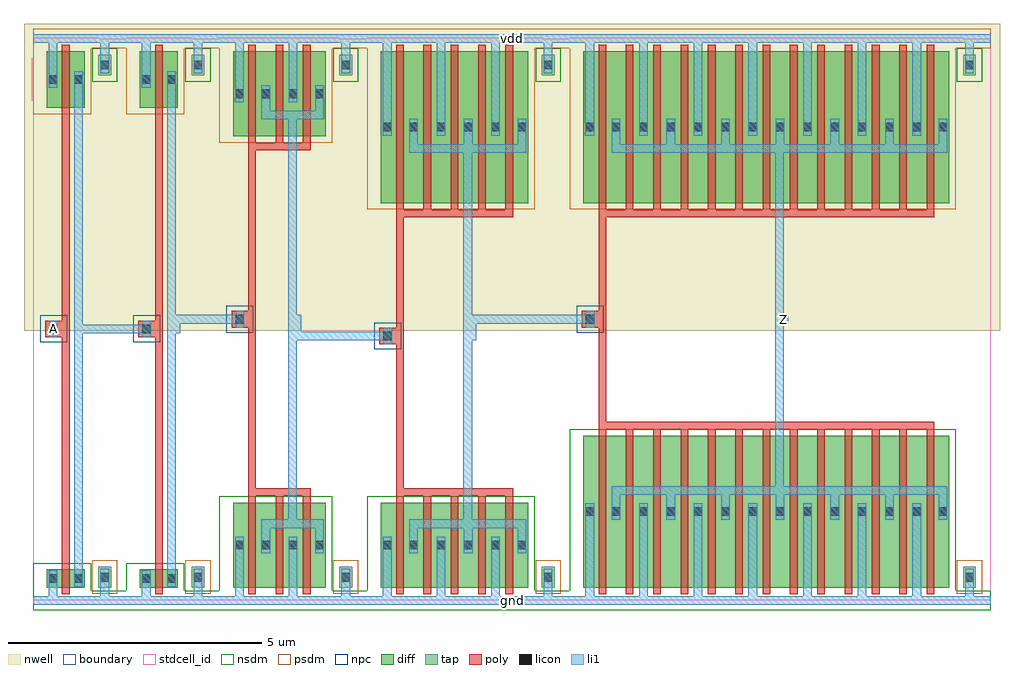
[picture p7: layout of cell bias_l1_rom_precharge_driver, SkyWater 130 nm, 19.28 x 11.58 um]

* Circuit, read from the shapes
.subckt bias_l1_rom_precharge_driver A Z gnd vdd
XM1 bias_l1_pinv_1/A A gnd gnd sky130_fd_pr__nfet_01v8 w=0.36 l=0.15
XM2 bias_l1_pinv_2_2/A bias_l1_pinv_1/A gnd gnd sky130_fd_pr__nfet_01v8 w=0.36 l=0.15
XM3 bias_l1_pinv_3_3/A bias_l1_pinv_2_2/A gnd gnd sky130_fd_pr__nfet_01v8 w=1.68 l=0.15 m=3
XM4 bias_l1_pinv_4_4/A bias_l1_pinv_3_3/A gnd gnd sky130_fd_pr__nfet_01v8 w=1.68 l=0.15 m=5
XM5 Z bias_l1_pinv_4_4/A gnd gnd sky130_fd_pr__nfet_01v8 w=3 l=0.15 m=13
XM6 bias_l1_pinv_1/A A vdd vdd sky130_fd_pr__pfet_01v8 w=1.12 l=0.15
XM7 bias_l1_pinv_2_2/A bias_l1_pinv_1/A vdd vdd sky130_fd_pr__pfet_01v8 w=1.12 l=0.15
XM8 bias_l1_pinv_3_3/A bias_l1_pinv_2_2/A vdd vdd sky130_fd_pr__pfet_01v8 w=1.68 l=0.15 m=3
XM9 bias_l1_pinv_4_4/A bias_l1_pinv_3_3/A vdd vdd sky130_fd_pr__pfet_01v8 w=3 l=0.15 m=5
XM10 Z bias_l1_pinv_4_4/A vdd vdd sky130_fd_pr__pfet_01v8 w=3 l=0.15 m=13
.ends

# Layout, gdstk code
import gdstk
lib = gdstk.Library(unit=1e-6, precision=1e-09)
def R(c, l, rs):  # rectangles x0, y0, x1, y1
    for r in rs: c.add(gdstk.rectangle(r[:2], r[2:], *l))
def A(c, l, x, y, w, h, nx, ny, dx, dy):  # array of equal rectangles
    R(c, l, [(x+i*dx, y+j*dy, x+i*dx+w, y+j*dy+h) for i in range(nx) for j in range(ny)])
nwell = (64, 20)
diff = (65, 20)
tap = (65, 44)
poly = (66, 20)
licon = (66, 44)
li1 = (67, 20)
stdcell_id = (81, 4)
nsdm = (93, 44)
psdm = (94, 20)
npc = (95, 20)
boundary = (235, 4)

bias_l1_contact_10 = lib.new_cell('bias_l1_contact_10')
R(bias_l1_contact_10, nwell, [(-0.295,-0.255,0.545,0.585)])
R(bias_l1_contact_10, diff, [(0,0.02,0.25,0.31)])
R(bias_l1_contact_10, licon, [(0.04,0.08,0.21,0.25)])
R(bias_l1_contact_10, li1, [(0.04,0,0.21,0.33)])
R(bias_l1_contact_10, stdcell_id, [(-0.295,-0.255,0.545,0.585)])
R(bias_l1_contact_10, psdm, [(-0.125,-0.105,0.375,0.435)])
R(bias_l1_contact_10, boundary, [(-0.295,-0.255,0.545,0.585)])

bias_l1_pmos_m1_w1_120_s = lib.new_cell('bias_l1_pmos_m1_w1_120_sli_dli_da_p')
R(bias_l1_pmos_m1_w1_120_s, nwell, [(-0.27,-0.27,1.02,1.39)])
R(bias_l1_pmos_m1_w1_120_s, diff, [(0,0,0.75,1.12)])
R(bias_l1_pmos_m1_w1_120_s, poly, [(0.3,-0.13,0.45,1.25), (0.3,-0.13,0.45,1.25)])
R(bias_l1_pmos_m1_w1_120_s, li1, [(0.04,0.395,0.21,0.725), (0.54,0.395,0.71,0.725)])
R(bias_l1_pmos_m1_w1_120_s, stdcell_id, [(-0.27,-0.27,1.02,1.39)])
R(bias_l1_pmos_m1_w1_120_s, psdm, [(-0.125,-0.125,0.875,1.245)])
R(bias_l1_pmos_m1_w1_120_s, boundary, [(-0.27,-0.27,1.02,1.39)])
bias_l1_pmos_m1_w1_120_s.add(gdstk.Reference(bias_l1_contact_10, (0,0.395)))
bias_l1_pmos_m1_w1_120_s.add(gdstk.Reference(bias_l1_contact_10, (0.5,0.395)))
bias_l1_pmos_m1_w1_120_s.add(gdstk.Label('G', (0.375,0.56), layer=66, texttype=5))
bias_l1_pmos_m1_w1_120_s.add(gdstk.Label('S', (0.125,0.56), layer=67, texttype=5))
bias_l1_pmos_m1_w1_120_s.add(gdstk.Label('D', (0.625,0.56), layer=67, texttype=5))

bias_l1_contact_8 = lib.new_cell('bias_l1_contact_8')
R(bias_l1_contact_8, diff, [(0,0.02,0.25,0.31)])
R(bias_l1_contact_8, licon, [(0.04,0.08,0.21,0.25)])
R(bias_l1_contact_8, li1, [(0.04,0,0.21,0.33)])
R(bias_l1_contact_8, stdcell_id, [(-0.125,-0.105,0.375,0.435)])
R(bias_l1_contact_8, nsdm, [(-0.125,-0.105,0.375,0.435)])
R(bias_l1_contact_8, boundary, [(-0.125,-0.105,0.375,0.435)])

bias_l1_nmos_m1_w0_360_s = lib.new_cell('bias_l1_nmos_m1_w0_360_sli_dli_da_p')
R(bias_l1_nmos_m1_w0_360_s, diff, [(0,0,0.75,0.36)])
R(bias_l1_nmos_m1_w0_360_s, poly, [(0.3,-0.13,0.45,0.49), (0.3,-0.13,0.45,0.49)])
R(bias_l1_nmos_m1_w0_360_s, li1, [(0.04,0.015,0.21,0.345), (0.54,0.015,0.71,0.345)])
R(bias_l1_nmos_m1_w0_360_s, stdcell_id, [(-0.125,-0.13,0.875,0.49)])
R(bias_l1_nmos_m1_w0_360_s, nsdm, [(-0.125,-0.125,0.875,0.485)])
R(bias_l1_nmos_m1_w0_360_s, boundary, [(-0.125,-0.13,0.875,0.49)])
bias_l1_nmos_m1_w0_360_s.add(gdstk.Reference(bias_l1_contact_8, (0,0.015)))
bias_l1_nmos_m1_w0_360_s.add(gdstk.Reference(bias_l1_contact_8, (0.5,0.015)))
bias_l1_nmos_m1_w0_360_s.add(gdstk.Label('G', (0.375,0.18), layer=66, texttype=5))
bias_l1_nmos_m1_w0_360_s.add(gdstk.Label('S', (0.125,0.18), layer=67, texttype=5))
bias_l1_nmos_m1_w0_360_s.add(gdstk.Label('D', (0.625,0.18), layer=67, texttype=5))

bias_l1_contact_26 = lib.new_cell('bias_l1_contact_26')
R(bias_l1_contact_26, nwell, [(-0.295,-0.215,0.545,0.625)])
R(bias_l1_contact_26, tap, [(0,0,0.25,0.41)])
R(bias_l1_contact_26, licon, [(0.04,0.12,0.21,0.29)])
R(bias_l1_contact_26, li1, [(0.04,0.04,0.21,0.37)])
R(bias_l1_contact_26, stdcell_id, [(-0.295,-0.215,0.545,0.625)])
R(bias_l1_contact_26, nsdm, [(-0.125,-0.125,0.375,0.535)])
R(bias_l1_contact_26, boundary, [(-0.295,-0.215,0.545,0.625)])

bias_l1_contact_27 = lib.new_cell('bias_l1_contact_27')
R(bias_l1_contact_27, tap, [(0,0,0.25,0.41)])
R(bias_l1_contact_27, licon, [(0.04,0.12,0.21,0.29)])
R(bias_l1_contact_27, li1, [(0.04,0.04,0.21,0.37)])
R(bias_l1_contact_27, stdcell_id, [(-0.125,-0.125,0.375,0.535)])
R(bias_l1_contact_27, psdm, [(-0.125,-0.125,0.375,0.535)])
R(bias_l1_contact_27, boundary, [(-0.125,-0.125,0.375,0.535)])

bias_l1_contact_11 = lib.new_cell('bias_l1_contact_11')
R(bias_l1_contact_11, poly, [(0,0,0.33,0.33)])
R(bias_l1_contact_11, licon, [(0.08,0.08,0.25,0.25)])
R(bias_l1_contact_11, li1, [(0.08,0,0.25,0.33)])
R(bias_l1_contact_11, stdcell_id, [(-0.1,-0.1,0.43,0.43)])
R(bias_l1_contact_11, npc, [(-0.1,-0.1,0.43,0.43)])
R(bias_l1_contact_11, boundary, [(-0.1,-0.1,0.43,0.43)])

bias_l1_pinv = lib.new_cell('bias_l1_pinv')
R(bias_l1_pinv, nwell, [(-0.18,5.33,2.02,11.39)])
R(bias_l1_pinv, poly, [(0.57,0.745,0.72,9.6), (0.405,5.2,0.57,5.53)])
R(bias_l1_pinv, li1, [(0,-0.085,1.84,0.085), (0.31,-0.085,0.48,0.27), (1.33,0,1.5,0.46), (0.81,0.27,0.98,10.455), (0.32,5.2,0.49,5.53), (0.895,5.28,1.065,5.45), (0.31,10.125,0.48,11.19), (1.33,10.58,1.5,11.1), (0,11.02,1.84,11.19)])
R(bias_l1_pinv, stdcell_id, [(0,0,1.84,11.1), (0,0,1.84,11.1)])
R(bias_l1_pinv, nsdm, [(0,-0.19,1.84,0.19), (0,0,1.145,0.74)])
R(bias_l1_pinv, psdm, [(0,9.605,1.145,11.105), (0,10.91,1.84,11.29)])
R(bias_l1_pinv, boundary, [(0,0,1.84,11.1), (0,0,1.84,11.1)])
bias_l1_pinv.add(gdstk.Reference(bias_l1_pmos_m1_w1_120_s, (0.27,9.73)))
bias_l1_pinv.add(gdstk.Reference(bias_l1_nmos_m1_w0_360_s, (0.27,0.255)))
bias_l1_pinv.add(gdstk.Reference(bias_l1_contact_26, (1.29,10.375)))
bias_l1_pinv.add(gdstk.Reference(bias_l1_contact_27, (1.29,0.255)))
bias_l1_pinv.add(gdstk.Reference(bias_l1_contact_11, (0.24,5.2)))
bias_l1_pinv.add(gdstk.Label('A', (0.405,5.365), layer=67, texttype=5))
bias_l1_pinv.add(gdstk.Label('Z', (0.98,5.365), layer=67, texttype=5))
bias_l1_pinv.add(gdstk.Label('gnd', (0.92,0), layer=67, texttype=5))
bias_l1_pinv.add(gdstk.Label('vdd', (0.92,11.105), layer=67, texttype=5))

bias_l1_pmos_m3_w1_680_s = lib.new_cell('bias_l1_pmos_m3_w1_680_sli_dli_da_p')
R(bias_l1_pmos_m3_w1_680_s, nwell, [(-0.27,-0.27,2.1,1.95)])
R(bias_l1_pmos_m3_w1_680_s, diff, [(0,0,1.83,1.68)])
A(bias_l1_pmos_m3_w1_680_s, poly, 0.3, -0.13, 0.15, 1.94, 3, 1, 0.54, 0)
R(bias_l1_pmos_m3_w1_680_s, poly, [(0.3,-0.28,1.53,-0.13)])
R(bias_l1_pmos_m3_w1_680_s, li1, [(0.56,0.335,1.79,0.505), (0.56,0.42,0.73,0.84), (1.62,0.42,1.79,0.84), (0.04,0.675,0.21,1.005), (1.1,0.675,1.27,1.005)])
R(bias_l1_pmos_m3_w1_680_s, stdcell_id, [(-0.27,-0.28,2.1,1.95)])
R(bias_l1_pmos_m3_w1_680_s, psdm, [(-0.125,-0.125,1.955,1.805)])
R(bias_l1_pmos_m3_w1_680_s, boundary, [(-0.27,-0.28,2.1,1.95)])
bias_l1_pmos_m3_w1_680_s.add(gdstk.Reference(bias_l1_contact_10, (0,0.675)))
bias_l1_pmos_m3_w1_680_s.add(gdstk.Reference(bias_l1_contact_10, (0.52,0.675)))
bias_l1_pmos_m3_w1_680_s.add(gdstk.Reference(bias_l1_contact_10, (1.06,0.675)))
bias_l1_pmos_m3_w1_680_s.add(gdstk.Reference(bias_l1_contact_10, (1.58,0.675)))
bias_l1_pmos_m3_w1_680_s.add(gdstk.Label('G', (0.915,-0.205), layer=66, texttype=5))
bias_l1_pmos_m3_w1_680_s.add(gdstk.Label('S', (0.125,0.84), layer=67, texttype=5))
bias_l1_pmos_m3_w1_680_s.add(gdstk.Label('S', (1.185,0.84), layer=67, texttype=5))
bias_l1_pmos_m3_w1_680_s.add(gdstk.Label('D', (1.175,0.42), layer=67, texttype=5))

bias_l1_nmos_m3_w1_680_s = lib.new_cell('bias_l1_nmos_m3_w1_680_sli_dli_da_p')
R(bias_l1_nmos_m3_w1_680_s, diff, [(0,0,1.83,1.68)])
A(bias_l1_nmos_m3_w1_680_s, poly, 0.3, -0.13, 0.15, 1.94, 3, 1, 0.54, 0)
R(bias_l1_nmos_m3_w1_680_s, poly, [(0.3,1.81,1.53,1.96)])
R(bias_l1_nmos_m3_w1_680_s, li1, [(0.04,0.675,0.21,1.005), (1.1,0.675,1.27,1.005), (0.56,0.84,0.73,1.26), (1.62,0.84,1.79,1.26), (0.56,1.175,1.79,1.345)])
R(bias_l1_nmos_m3_w1_680_s, stdcell_id, [(-0.125,-0.13,1.955,1.96)])
R(bias_l1_nmos_m3_w1_680_s, nsdm, [(-0.125,-0.125,1.955,1.805)])
R(bias_l1_nmos_m3_w1_680_s, boundary, [(-0.125,-0.13,1.955,1.96)])
bias_l1_nmos_m3_w1_680_s.add(gdstk.Reference(bias_l1_contact_8, (0,0.675)))
bias_l1_nmos_m3_w1_680_s.add(gdstk.Reference(bias_l1_contact_8, (0.52,0.675)))
bias_l1_nmos_m3_w1_680_s.add(gdstk.Reference(bias_l1_contact_8, (1.06,0.675)))
bias_l1_nmos_m3_w1_680_s.add(gdstk.Reference(bias_l1_contact_8, (1.58,0.675)))
bias_l1_nmos_m3_w1_680_s.add(gdstk.Label('G', (0.915,1.885), layer=66, texttype=5))
bias_l1_nmos_m3_w1_680_s.add(gdstk.Label('S', (0.125,0.84), layer=67, texttype=5))
bias_l1_nmos_m3_w1_680_s.add(gdstk.Label('S', (1.185,0.84), layer=67, texttype=5))
bias_l1_nmos_m3_w1_680_s.add(gdstk.Label('D', (1.175,1.26), layer=67, texttype=5))

bias_l1_pinv_2 = lib.new_cell('bias_l1_pinv_2')
R(bias_l1_pinv_2, nwell, [(-0.18,5.33,3.1,11.39)])
R(bias_l1_pinv_2, poly, [(0.57,2.215,0.72,8.89), (0.405,5.39,0.57,5.72)])
R(bias_l1_pinv_2, li1, [(0,-0.085,2.92,0.085), (0.31,-0.085,0.48,0.93), (1.37,-0.085,1.54,0.93), (2.41,0,2.58,0.46), (1.36,1.43,1.53,9.675), (0.32,5.39,0.49,5.72), (1.445,5.47,1.615,5.64), (0.31,9.845,0.48,11.19), (1.37,9.845,1.54,11.19), (2.41,10.58,2.58,11.1), (0,11.02,2.92,11.19)])
R(bias_l1_pinv_2, stdcell_id, [(0,0,2.92,11.1), (0,0,2.92,11.1)])
R(bias_l1_pinv_2, nsdm, [(0,-0.19,2.92,0.19), (0,0,2.225,2.06)])
R(bias_l1_pinv_2, psdm, [(0,9.045,2.225,11.105), (0,10.91,2.92,11.29)])
R(bias_l1_pinv_2, boundary, [(0,0,2.92,11.1), (0,0,2.92,11.1)])
bias_l1_pinv_2.add(gdstk.Reference(bias_l1_pmos_m3_w1_680_s, (0.27,9.17)))
bias_l1_pinv_2.add(gdstk.Reference(bias_l1_nmos_m3_w1_680_s, (0.27,0.255)))
bias_l1_pinv_2.add(gdstk.Reference(bias_l1_contact_26, (2.37,10.375)))
bias_l1_pinv_2.add(gdstk.Reference(bias_l1_contact_27, (2.37,0.255)))
bias_l1_pinv_2.add(gdstk.Reference(bias_l1_contact_11, (0.24,5.39)))
bias_l1_pinv_2.add(gdstk.Label('A', (0.405,5.555), layer=67, texttype=5))
bias_l1_pinv_2.add(gdstk.Label('Z', (1.53,5.555), layer=67, texttype=5))
bias_l1_pinv_2.add(gdstk.Label('gnd', (1.46,0), layer=67, texttype=5))
bias_l1_pinv_2.add(gdstk.Label('vdd', (1.46,11.105), layer=67, texttype=5))

bias_l1_pmos_m5_w3_000_s = lib.new_cell('bias_l1_pmos_m5_w3_000_sli_dli_da_p')
R(bias_l1_pmos_m5_w3_000_s, nwell, [(-0.27,-0.27,3.18,3.27)])
R(bias_l1_pmos_m5_w3_000_s, diff, [(0,0,2.91,3)])
A(bias_l1_pmos_m5_w3_000_s, poly, 0.3, -0.13, 0.15, 3.26, 5, 1, 0.54, 0)
R(bias_l1_pmos_m5_w3_000_s, poly, [(0.3,-0.28,2.61,-0.13)])
R(bias_l1_pmos_m5_w3_000_s, li1, [(0.56,0.995,2.87,1.165), (0.56,1.08,0.73,1.5), (1.64,1.08,1.81,1.5), (2.7,1.08,2.87,1.5), (0.04,1.335,0.21,1.665), (1.1,1.335,1.27,1.665), (2.18,1.335,2.35,1.665)])
R(bias_l1_pmos_m5_w3_000_s, stdcell_id, [(-0.27,-0.28,3.18,3.27)])
R(bias_l1_pmos_m5_w3_000_s, psdm, [(-0.125,-0.125,3.035,3.125)])
R(bias_l1_pmos_m5_w3_000_s, boundary, [(-0.27,-0.28,3.18,3.27)])
bias_l1_pmos_m5_w3_000_s.add(gdstk.Reference(bias_l1_contact_10, (0,1.335)))
bias_l1_pmos_m5_w3_000_s.add(gdstk.Reference(bias_l1_contact_10, (0.52,1.335)))
bias_l1_pmos_m5_w3_000_s.add(gdstk.Reference(bias_l1_contact_10, (1.06,1.335)))
bias_l1_pmos_m5_w3_000_s.add(gdstk.Reference(bias_l1_contact_10, (1.6,1.335)))
bias_l1_pmos_m5_w3_000_s.add(gdstk.Reference(bias_l1_contact_10, (2.14,1.335)))
bias_l1_pmos_m5_w3_000_s.add(gdstk.Reference(bias_l1_contact_10, (2.66,1.335)))
bias_l1_pmos_m5_w3_000_s.add(gdstk.Label('G', (1.455,-0.205), layer=66, texttype=5))
bias_l1_pmos_m5_w3_000_s.add(gdstk.Label('S', (1.185,1.5), layer=67, texttype=5))
bias_l1_pmos_m5_w3_000_s.add(gdstk.Label('S', (0.125,1.5), layer=67, texttype=5))
bias_l1_pmos_m5_w3_000_s.add(gdstk.Label('S', (2.265,1.5), layer=67, texttype=5))
bias_l1_pmos_m5_w3_000_s.add(gdstk.Label('D', (1.715,1.08), layer=67, texttype=5))

bias_l1_nmos_m5_w1_680_s = lib.new_cell('bias_l1_nmos_m5_w1_680_sli_dli_da_p')
R(bias_l1_nmos_m5_w1_680_s, diff, [(0,0,2.91,1.68)])
A(bias_l1_nmos_m5_w1_680_s, poly, 0.3, -0.13, 0.15, 1.94, 5, 1, 0.54, 0)
R(bias_l1_nmos_m5_w1_680_s, poly, [(0.3,1.81,2.61,1.96)])
R(bias_l1_nmos_m5_w1_680_s, li1, [(0.04,0.675,0.21,1.005), (1.1,0.675,1.27,1.005), (2.18,0.675,2.35,1.005), (0.56,0.84,0.73,1.26), (1.64,0.84,1.81,1.26), (2.7,0.84,2.87,1.26), (0.56,1.175,2.87,1.345)])
R(bias_l1_nmos_m5_w1_680_s, stdcell_id, [(-0.125,-0.13,3.035,1.96)])
R(bias_l1_nmos_m5_w1_680_s, nsdm, [(-0.125,-0.125,3.035,1.805)])
R(bias_l1_nmos_m5_w1_680_s, boundary, [(-0.125,-0.13,3.035,1.96)])
bias_l1_nmos_m5_w1_680_s.add(gdstk.Reference(bias_l1_contact_8, (0,0.675)))
bias_l1_nmos_m5_w1_680_s.add(gdstk.Reference(bias_l1_contact_8, (0.52,0.675)))
bias_l1_nmos_m5_w1_680_s.add(gdstk.Reference(bias_l1_contact_8, (1.06,0.675)))
bias_l1_nmos_m5_w1_680_s.add(gdstk.Reference(bias_l1_contact_8, (1.6,0.675)))
bias_l1_nmos_m5_w1_680_s.add(gdstk.Reference(bias_l1_contact_8, (2.14,0.675)))
bias_l1_nmos_m5_w1_680_s.add(gdstk.Reference(bias_l1_contact_8, (2.66,0.675)))
bias_l1_nmos_m5_w1_680_s.add(gdstk.Label('G', (1.455,1.885), layer=66, texttype=5))
bias_l1_nmos_m5_w1_680_s.add(gdstk.Label('S', (0.125,0.84), layer=67, texttype=5))
bias_l1_nmos_m5_w1_680_s.add(gdstk.Label('S', (1.185,0.84), layer=67, texttype=5))
bias_l1_nmos_m5_w1_680_s.add(gdstk.Label('S', (2.265,0.84), layer=67, texttype=5))
bias_l1_nmos_m5_w1_680_s.add(gdstk.Label('D', (1.715,1.26), layer=67, texttype=5))

bias_l1_pinv_3 = lib.new_cell('bias_l1_pinv_3')
R(bias_l1_pinv_3, nwell, [(-0.18,5.33,4.18,11.39)])
R(bias_l1_pinv_3, poly, [(0.57,2.215,0.72,7.57), (0.405,5.06,0.57,5.39)])
R(bias_l1_pinv_3, li1, [(0,-0.085,4,0.085), (0.31,-0.085,0.48,0.93), (1.37,-0.085,1.54,0.93), (2.45,-0.085,2.62,0.93), (3.49,0,3.66,0.46), (1.9,1.43,2.07,9.015), (0.32,5.06,0.49,5.39), (1.985,5.14,2.155,5.31), (0.31,9.185,0.48,11.19), (1.37,9.185,1.54,11.19), (2.45,9.185,2.62,11.19), (3.49,10.58,3.66,11.1), (0,11.02,4,11.19)])
R(bias_l1_pinv_3, stdcell_id, [(0,0,4,11.1), (0,0,4,11.1)])
R(bias_l1_pinv_3, nsdm, [(0,-0.19,4,0.19), (0,0,3.305,2.06)])
R(bias_l1_pinv_3, psdm, [(0,7.725,3.305,11.105), (0,10.91,4,11.29)])
R(bias_l1_pinv_3, boundary, [(0,0,4,11.1), (0,0,4,11.1)])
bias_l1_pinv_3.add(gdstk.Reference(bias_l1_pmos_m5_w3_000_s, (0.27,7.85)))
bias_l1_pinv_3.add(gdstk.Reference(bias_l1_nmos_m5_w1_680_s, (0.27,0.255)))
bias_l1_pinv_3.add(gdstk.Reference(bias_l1_contact_26, (3.45,10.375)))
bias_l1_pinv_3.add(gdstk.Reference(bias_l1_contact_27, (3.45,0.255)))
bias_l1_pinv_3.add(gdstk.Reference(bias_l1_contact_11, (0.24,5.06)))
bias_l1_pinv_3.add(gdstk.Label('A', (0.405,5.225), layer=67, texttype=5))
bias_l1_pinv_3.add(gdstk.Label('Z', (2.07,5.225), layer=67, texttype=5))
bias_l1_pinv_3.add(gdstk.Label('gnd', (2,0), layer=67, texttype=5))
bias_l1_pinv_3.add(gdstk.Label('vdd', (2,11.105), layer=67, texttype=5))

bias_l1_pmos_m13_w3_000_ = lib.new_cell('bias_l1_pmos_m13_w3_000_sli_dli_da_p')
R(bias_l1_pmos_m13_w3_000_, nwell, [(-0.27,-0.27,7.5,3.27)])
R(bias_l1_pmos_m13_w3_000_, diff, [(0,0,7.23,3)])
A(bias_l1_pmos_m13_w3_000_, poly, 0.3, -0.13, 0.15, 3.26, 13, 1, 0.54, 0)
R(bias_l1_pmos_m13_w3_000_, poly, [(0.3,-0.28,6.93,-0.13)])
A(bias_l1_pmos_m13_w3_000_, li1, 0.56, 1.08, 0.17, 0.42, 6, 1, 1.08, 0)
A(bias_l1_pmos_m13_w3_000_, li1, 1.1, 1.335, 0.17, 0.33, 6, 1, 1.08, 0)
R(bias_l1_pmos_m13_w3_000_, li1, [(0.56,0.995,7.19,1.165), (7.02,1.08,7.19,1.5), (0.04,1.335,0.21,1.665)])
R(bias_l1_pmos_m13_w3_000_, stdcell_id, [(-0.27,-0.28,7.5,3.27)])
R(bias_l1_pmos_m13_w3_000_, psdm, [(-0.125,-0.125,7.355,3.125)])
R(bias_l1_pmos_m13_w3_000_, boundary, [(-0.27,-0.28,7.5,3.27)])
bias_l1_pmos_m13_w3_000_.add(gdstk.Reference(bias_l1_contact_10, (0,1.335)))
bias_l1_pmos_m13_w3_000_.add(gdstk.Reference(bias_l1_contact_10, (0.52,1.335)))
bias_l1_pmos_m13_w3_000_.add(gdstk.Reference(bias_l1_contact_10, (1.06,1.335)))
bias_l1_pmos_m13_w3_000_.add(gdstk.Reference(bias_l1_contact_10, (1.6,1.335)))
bias_l1_pmos_m13_w3_000_.add(gdstk.Reference(bias_l1_contact_10, (2.14,1.335)))
bias_l1_pmos_m13_w3_000_.add(gdstk.Reference(bias_l1_contact_10, (2.68,1.335)))
bias_l1_pmos_m13_w3_000_.add(gdstk.Reference(bias_l1_contact_10, (3.22,1.335)))
bias_l1_pmos_m13_w3_000_.add(gdstk.Reference(bias_l1_contact_10, (3.76,1.335)))
bias_l1_pmos_m13_w3_000_.add(gdstk.Reference(bias_l1_contact_10, (4.3,1.335)))
bias_l1_pmos_m13_w3_000_.add(gdstk.Reference(bias_l1_contact_10, (4.84,1.335)))
bias_l1_pmos_m13_w3_000_.add(gdstk.Reference(bias_l1_contact_10, (5.38,1.335)))
bias_l1_pmos_m13_w3_000_.add(gdstk.Reference(bias_l1_contact_10, (5.92,1.335)))
bias_l1_pmos_m13_w3_000_.add(gdstk.Reference(bias_l1_contact_10, (6.46,1.335)))
bias_l1_pmos_m13_w3_000_.add(gdstk.Reference(bias_l1_contact_10, (6.98,1.335)))
bias_l1_pmos_m13_w3_000_.add(gdstk.Label('G', (3.615,-0.205), layer=66, texttype=5))
bias_l1_pmos_m13_w3_000_.add(gdstk.Label('S', (2.265,1.5), layer=67, texttype=5))
bias_l1_pmos_m13_w3_000_.add(gdstk.Label('S', (1.185,1.5), layer=67, texttype=5))
bias_l1_pmos_m13_w3_000_.add(gdstk.Label('S', (6.585,1.5), layer=67, texttype=5))
bias_l1_pmos_m13_w3_000_.add(gdstk.Label('S', (0.125,1.5), layer=67, texttype=5))
bias_l1_pmos_m13_w3_000_.add(gdstk.Label('S', (3.345,1.5), layer=67, texttype=5))
bias_l1_pmos_m13_w3_000_.add(gdstk.Label('S', (4.425,1.5), layer=67, texttype=5))
bias_l1_pmos_m13_w3_000_.add(gdstk.Label('S', (5.505,1.5), layer=67, texttype=5))
bias_l1_pmos_m13_w3_000_.add(gdstk.Label('D', (3.875,1.08), layer=67, texttype=5))

bias_l1_nmos_m13_w3_000_ = lib.new_cell('bias_l1_nmos_m13_w3_000_sli_dli_da_p')
R(bias_l1_nmos_m13_w3_000_, diff, [(0,0,7.23,3)])
A(bias_l1_nmos_m13_w3_000_, poly, 0.3, -0.13, 0.15, 3.26, 13, 1, 0.54, 0)
R(bias_l1_nmos_m13_w3_000_, poly, [(0.3,3.13,6.93,3.28)])
A(bias_l1_nmos_m13_w3_000_, li1, 1.1, 1.335, 0.17, 0.33, 6, 1, 1.08, 0)
A(bias_l1_nmos_m13_w3_000_, li1, 0.56, 1.5, 0.17, 0.42, 6, 1, 1.08, 0)
R(bias_l1_nmos_m13_w3_000_, li1, [(0.04,1.335,0.21,1.665), (7.02,1.5,7.19,1.92), (0.56,1.835,7.19,2.005)])
R(bias_l1_nmos_m13_w3_000_, stdcell_id, [(-0.125,-0.13,7.355,3.28)])
R(bias_l1_nmos_m13_w3_000_, nsdm, [(-0.125,-0.125,7.355,3.125)])
R(bias_l1_nmos_m13_w3_000_, boundary, [(-0.125,-0.13,7.355,3.28)])
bias_l1_nmos_m13_w3_000_.add(gdstk.Reference(bias_l1_contact_8, (0,1.335)))
bias_l1_nmos_m13_w3_000_.add(gdstk.Reference(bias_l1_contact_8, (0.52,1.335)))
bias_l1_nmos_m13_w3_000_.add(gdstk.Reference(bias_l1_contact_8, (1.06,1.335)))
bias_l1_nmos_m13_w3_000_.add(gdstk.Reference(bias_l1_contact_8, (1.6,1.335)))
bias_l1_nmos_m13_w3_000_.add(gdstk.Reference(bias_l1_contact_8, (2.14,1.335)))
bias_l1_nmos_m13_w3_000_.add(gdstk.Reference(bias_l1_contact_8, (2.68,1.335)))
bias_l1_nmos_m13_w3_000_.add(gdstk.Reference(bias_l1_contact_8, (3.22,1.335)))
bias_l1_nmos_m13_w3_000_.add(gdstk.Reference(bias_l1_contact_8, (3.76,1.335)))
bias_l1_nmos_m13_w3_000_.add(gdstk.Reference(bias_l1_contact_8, (4.3,1.335)))
bias_l1_nmos_m13_w3_000_.add(gdstk.Reference(bias_l1_contact_8, (4.84,1.335)))
bias_l1_nmos_m13_w3_000_.add(gdstk.Reference(bias_l1_contact_8, (5.38,1.335)))
bias_l1_nmos_m13_w3_000_.add(gdstk.Reference(bias_l1_contact_8, (5.92,1.335)))
bias_l1_nmos_m13_w3_000_.add(gdstk.Reference(bias_l1_contact_8, (6.46,1.335)))
bias_l1_nmos_m13_w3_000_.add(gdstk.Reference(bias_l1_contact_8, (6.98,1.335)))
bias_l1_nmos_m13_w3_000_.add(gdstk.Label('G', (3.615,3.205), layer=66, texttype=5))
bias_l1_nmos_m13_w3_000_.add(gdstk.Label('S', (2.265,1.5), layer=67, texttype=5))
bias_l1_nmos_m13_w3_000_.add(gdstk.Label('S', (1.185,1.5), layer=67, texttype=5))
bias_l1_nmos_m13_w3_000_.add(gdstk.Label('S', (6.585,1.5), layer=67, texttype=5))
bias_l1_nmos_m13_w3_000_.add(gdstk.Label('S', (0.125,1.5), layer=67, texttype=5))
bias_l1_nmos_m13_w3_000_.add(gdstk.Label('S', (3.345,1.5), layer=67, texttype=5))
bias_l1_nmos_m13_w3_000_.add(gdstk.Label('S', (4.425,1.5), layer=67, texttype=5))
bias_l1_nmos_m13_w3_000_.add(gdstk.Label('S', (5.505,1.5), layer=67, texttype=5))
bias_l1_nmos_m13_w3_000_.add(gdstk.Label('D', (3.875,1.92), layer=67, texttype=5))

bias_l1_pinv_4 = lib.new_cell('bias_l1_pinv_4')
R(bias_l1_pinv_4, nwell, [(-0.18,5.33,8.5,11.39)])
R(bias_l1_pinv_4, poly, [(0.57,3.535,0.72,7.57), (0.405,5.39,0.57,5.72)])
A(bias_l1_pinv_4, li1, 1.37, -0.085, 0.17, 1.675, 6, 1, 1.08, 0)
A(bias_l1_pinv_4, li1, 1.37, 9.185, 0.17, 2.005, 6, 1, 1.08, 0)
R(bias_l1_pinv_4, li1, [(0,-0.085,8.32,0.085), (0.31,-0.085,0.48,1.59), (7.81,0,7.98,0.46), (4.06,2.09,4.23,9.015), (0.32,5.39,0.49,5.72), (4.145,5.47,4.315,5.64), (0.31,9.185,0.48,11.19), (7.81,10.58,7.98,11.1), (0,11.02,8.32,11.19)])
R(bias_l1_pinv_4, stdcell_id, [(0,0,8.32,11.1), (0,0,8.32,11.1)])
R(bias_l1_pinv_4, nsdm, [(0,-0.19,8.32,0.19), (0,0,7.625,3.38)])
R(bias_l1_pinv_4, psdm, [(0,7.725,7.625,11.105), (0,10.91,8.32,11.29)])
R(bias_l1_pinv_4, boundary, [(0,0,8.32,11.1), (0,0,8.32,11.1)])
bias_l1_pinv_4.add(gdstk.Reference(bias_l1_pmos_m13_w3_000_, (0.27,7.85)))
bias_l1_pinv_4.add(gdstk.Reference(bias_l1_nmos_m13_w3_000_, (0.27,0.255)))
bias_l1_pinv_4.add(gdstk.Reference(bias_l1_contact_26, (7.77,10.375)))
bias_l1_pinv_4.add(gdstk.Reference(bias_l1_contact_27, (7.77,0.255)))
bias_l1_pinv_4.add(gdstk.Reference(bias_l1_contact_11, (0.24,5.39)))
bias_l1_pinv_4.add(gdstk.Label('A', (0.405,5.555), layer=67, texttype=5))
bias_l1_pinv_4.add(gdstk.Label('Z', (4.23,5.555), layer=67, texttype=5))
bias_l1_pinv_4.add(gdstk.Label('gnd', (4.16,0), layer=67, texttype=5))
bias_l1_pinv_4.add(gdstk.Label('vdd', (4.16,11.105), layer=67, texttype=5))

bias_l1_rom_precharge_dr = lib.new_cell('bias_l1_rom_precharge_driver')
R(bias_l1_rom_precharge_dr, nwell, [(-0.18,5.33,19.1,11.39)])
R(bias_l1_rom_precharge_dr, li1, [(0,-0.085,18.92,0.085), (5.125,5.14,5.295,5.31), (5.21,5.14,7.005,5.31), (0.32,5.2,0.49,5.53), (5.125,5.225,5.295,5.555), (8.585,5.225,8.755,5.555), (0.98,5.28,2.245,5.45), (2.735,5.365,2.905,5.555), (2.735,5.47,2.905,5.64), (2.82,5.47,4.085,5.64), (8.585,5.47,8.755,5.64), (8.67,5.47,11.005,5.64), (14.745,5.47,14.915,5.64), (0,11.015,18.92,11.185)])
R(bias_l1_rom_precharge_dr, stdcell_id, [(0,0,18.92,11.1), (0,0,18.92,11.1)])
R(bias_l1_rom_precharge_dr, nsdm, [(0,-0.19,18.92,0.19)])
R(bias_l1_rom_precharge_dr, psdm, [(0,10.91,18.92,11.29)])
R(bias_l1_rom_precharge_dr, boundary, [(0,0,18.92,11.1), (0,0,18.92,11.1)])
bias_l1_rom_precharge_dr.add(gdstk.Reference(bias_l1_pinv, (0,0)))
bias_l1_rom_precharge_dr.add(gdstk.Reference(bias_l1_pinv, (1.84,0)))
bias_l1_rom_precharge_dr.add(gdstk.Reference(bias_l1_pinv_2, (3.68,0)))
bias_l1_rom_precharge_dr.add(gdstk.Reference(bias_l1_pinv_3, (6.6,0)))
bias_l1_rom_precharge_dr.add(gdstk.Reference(bias_l1_pinv_4, (10.6,0)))
bias_l1_rom_precharge_dr.add(gdstk.Label('Z', (14.83,5.555), layer=67, texttype=5))
bias_l1_rom_precharge_dr.add(gdstk.Label('A', (0.405,5.365), layer=67, texttype=5))
bias_l1_rom_precharge_dr.add(gdstk.Label('gnd', (9.46,0), layer=67, texttype=5))
bias_l1_rom_precharge_dr.add(gdstk.Label('vdd', (9.46,11.1), layer=67, texttype=5))

lib.write_gds('bias_l1_rom_precharge_driver.gds')
